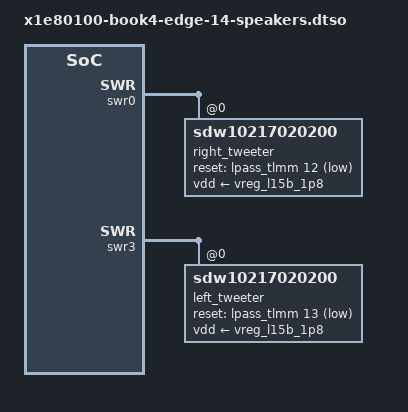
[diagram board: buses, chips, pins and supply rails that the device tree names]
// SPDX-License-Identifier: BSD-3-Clause

/*
 * Galaxy Book4 Edge 14" (NP940XMA): four speakers on the sleep kernel's DTB.
 *
 * The sleep kernel (tools/kernel/build-sleep-kernel.sh) builds the 14" DTB
 * from the Anatase base, which has neither the camera nor dts/patches
 * 0003-0006; those patches sit on top of the camera ones and do not apply
 * there. This overlay is 0003 (tweeters), 0005 (woofers named by side) and
 * 0006 (no 0x43 repeater) on their own, without the camera (never tested at
 * EL2). Built without the preprocessor: GPIO_ACTIVE_LOW = 1.
 */

/dts-v1/;
/plugin/;

&{/sound} {
	audio-routing = "SpkrRight IN", "WSA WSA_SPK1 OUT",
			"TweeterRight IN", "WSA WSA_SPK2 OUT",
			"SpkrLeft IN", "WSA2 WSA_SPK1 OUT",
			"TweeterLeft IN", "WSA2 WSA_SPK2 OUT",
			"IN1_HPHL", "HPHL_OUT",
			"IN2_HPHR", "HPHR_OUT",
			"AMIC2", "MIC BIAS2",
			"VA DMIC0", "MIC BIAS3",
			"VA DMIC1", "MIC BIAS3",
			"VA DMIC2", "MIC BIAS1",
			"VA DMIC3", "MIC BIAS1",
			"TX SWR_INPUT1", "ADC2_OUTPUT";
};

&{/sound/wsa-dai-link/codec} {
	sound-dai = <&left_spkr>, <&right_tweeter>, <&swr0 0>, <&lpass_wsamacro 0>,
		    <&right_spkr>, <&left_tweeter>, <&swr3 0>, <&lpass_wsa2macro 0>;
};

&swr0 {
	#address-cells = <2>;
	#size-cells = <0>;

	/* WSA8835 tweeter, right side; macro output SPK2 (RX1) */
	right_tweeter: speaker@0,1 {
		compatible = "sdw10217020200";
		reg = <0 1>;
		reset-gpios = <&lpass_tlmm 12 1>;
		#sound-dai-cells = <0>;
		#thermal-sensor-cells = <0>;
		sound-name-prefix = "TweeterRight";
		vdd-supply = <&vreg_l15b_1p8>;
		qcom,port-mapping = <4 5 6 7>;
	};
};

&swr3 {
	#address-cells = <2>;
	#size-cells = <0>;

	/* WSA8835 tweeter, left side; macro output SPK2 (RX1) */
	left_tweeter: speaker@0,1 {
		compatible = "sdw10217020200";
		reg = <0 1>;
		reset-gpios = <&lpass_tlmm 13 1>;
		#sound-dai-cells = <0>;
		#thermal-sensor-cells = <0>;
		sound-name-prefix = "TweeterLeft";
		vdd-supply = <&vreg_l15b_1p8>;
		qcom,port-mapping = <4 5 6 7>;
	};
};

/*
 * The woofer names in the shared dtsi are swapped on this model: SoundWire 0
 * (WSA macro) drives the right woofer, SoundWire 3 (WSA2) the left one.
 */
&left_spkr {
	sound-name-prefix = "SpkrRight";
};

&right_spkr {
	sound-name-prefix = "SpkrLeft";
};

/* Only the eUSB2 repeater at 0x4f (usb_2, the fingerprint reader) exists. */
&eusb5_repeater {
	status = "disabled";
};
